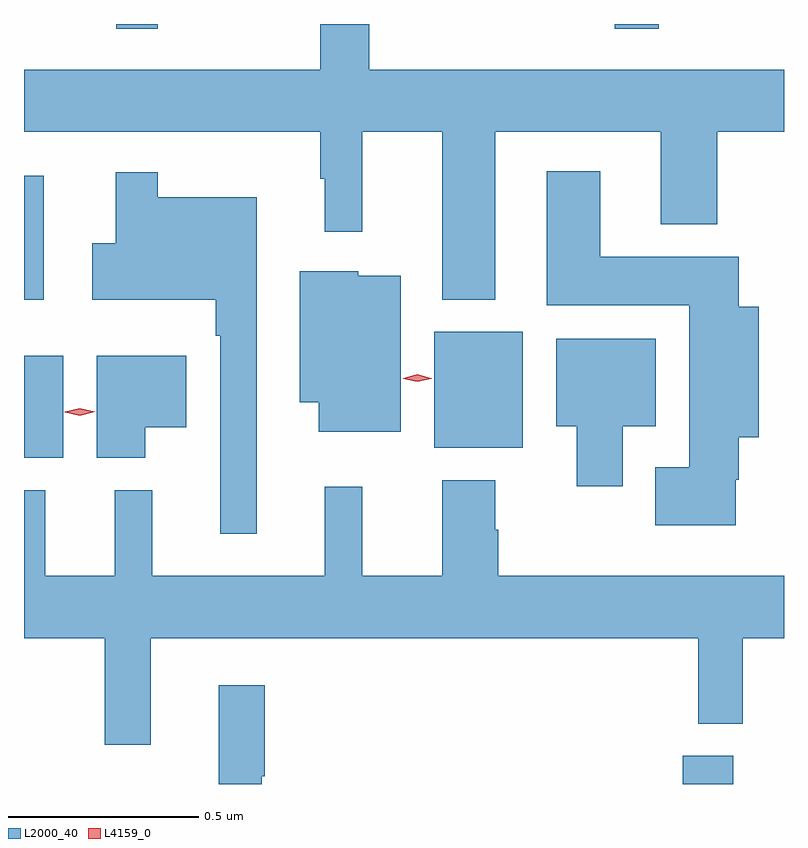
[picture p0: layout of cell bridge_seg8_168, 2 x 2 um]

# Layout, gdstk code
import gdstk
lib = gdstk.Library(unit=1e-6, precision=1e-09)
def R(c, l, rs):  # rectangles x0, y0, x1, y1
    for r in rs: c.add(gdstk.rectangle(r[:2], r[2:], *l))
def P(c, l, *ps):  # polygons
    for p in ps: c.add(gdstk.Polygon(p, *l))
L2000_40 = (2000, 40)
L4159_0 = (4159, 0)

bridge_seg8_168 = lib.new_cell('bridge_seg8_168')
R(bridge_seg8_168, L2000_40, [(547.184,1090.808,547.318,1090.882), (545.451,1091.666,545.554,1091.935), (546.53,1091.693,546.763,1091.998), (545.451,1092.083,545.503,1092.409), (545.694,1092.795,545.803,1092.808), (547.006,1092.795,547.122,1092.808)])
P(bridge_seg8_168, L2000_40, [(546.691,1092.524),(547.127,1092.524),(547.127,1092.281),(547.275,1092.281),(547.275,1092.524),(547.451,1092.524),(547.451,1092.688),(546.359,1092.688),(546.359,1092.808),(546.231,1092.808),(546.231,1092.688),(545.451,1092.688),(545.451,1092.524),(546.231,1092.524),(546.231,1092.401),(546.242,1092.401),(546.242,1092.261),(546.341,1092.261),(546.341,1092.524),(546.551,1092.524),(546.551,1092.083),(546.691,1092.083)],
  [(547.324,1091.609),(547.332,1091.609),(547.332,1091.72),(547.384,1091.72),(547.384,1092.064),(547.332,1092.064),(547.332,1092.196),(546.967,1092.196),(546.967,1092.421),(546.827,1092.421),(546.827,1092.068),(547.202,1092.068),(547.202,1091.641),(547.112,1091.641),(547.112,1091.489),(547.324,1091.489)],
  [(546.064,1091.717),(546.063,1091.717),(546.063,1092.352),(545.803,1092.352),(545.803,1092.418),(545.693,1092.418),(545.693,1092.231),(545.63,1092.231),(545.63,1092.083),(545.955,1092.083),(545.955,1091.987),(545.967,1091.987),(545.967,1091.466),(546.064,1091.466)],
  [(546.442,1092.145),(546.33,1092.145),(546.33,1092.157),(546.176,1092.157),(546.176,1091.813),(546.227,1091.813),(546.227,1091.735),(546.442,1091.735)],
  [(547.027,1091.75),(547.114,1091.75),(547.114,1091.98),(546.851,1091.98),(546.851,1091.75),(546.905,1091.75),(546.905,1091.592),(547.027,1091.592)],
  [(545.77,1091.747),(545.878,1091.747),(545.878,1091.935),(545.642,1091.935),(545.642,1091.666),(545.77,1091.666)],
  [(545.785,1091.192),(547.225,1091.192),(547.225,1090.967),(547.343,1090.967),(547.343,1091.192),(547.451,1091.192),(547.451,1091.356),(546.699,1091.356),(546.699,1091.477),(546.691,1091.477),(546.691,1091.608),(546.551,1091.608),(546.551,1091.356),(546.341,1091.356),(546.341,1091.59),(546.242,1091.59),(546.242,1091.356),(545.789,1091.356),(545.789,1091.581),(545.69,1091.581),(545.69,1091.356),(545.507,1091.356),(545.507,1091.581),(545.451,1091.581),(545.451,1091.192),(545.664,1091.192),(545.664,1090.911),(545.785,1090.911)],
  [(546.077,1090.829),(546.085,1090.829),(546.085,1091.068),(545.963,1091.068),(545.963,1090.808),(546.077,1090.808)])
P(bridge_seg8_168, L4159_0, [(546.486,1091.866),(546.449,1091.875),(546.449,1091.876),(546.449,1091.876),(546.486,1091.886),(546.523,1091.876),(546.524,1091.876),(546.523,1091.875)],
  [(545.598,1091.777),(545.558,1091.786),(545.558,1091.786),(545.558,1091.787),(545.598,1091.797),(545.638,1091.787),(545.638,1091.787),(545.638,1091.787)])

lib.write_gds('bridge_seg8_168.gds')
